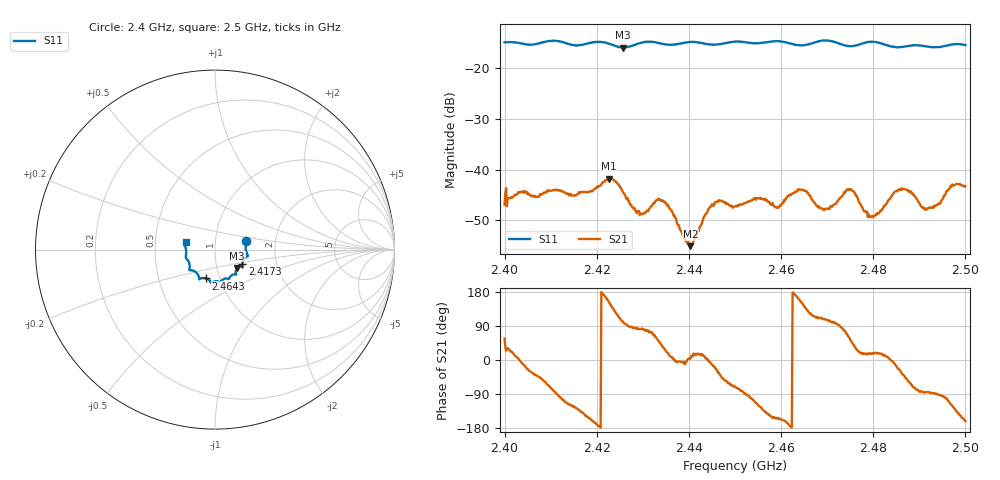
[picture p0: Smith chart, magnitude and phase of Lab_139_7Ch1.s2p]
# Hz S RI R 50
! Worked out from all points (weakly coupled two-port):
!   601 points, 2.4 GHz to 2.5 GHz, reference 50 ohm
!   highest |S21| = -41.77 dB at 2.4227 GHz (marker M1); lowest = -55.1 dB at 2.4403 GHz (marker M2)
!   lowest |S11| = -15.9 dB at 2.4257 GHz (marker M3), VSWR 1.38, Z = 62.5 - j13.1 ohm
!   |S11| at or under -10 dB: start of sweep to end of sweep
!   S12 and S22 are empty: the file has one direction only
!   S11 on the Smith chart (normalised r, x): 2.4 GHz: 1.41, +0.14; 2.4173 GHz: 1.34, -0.23; 2.4643 GHz: 0.86, -0.28; 2.5 GHz: 0.72, +0.06
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2.4e9  0.1737 0.0493  0.00247 0.00377  0 0  0 0
2.416667e9  0.1527 -0.0745  -0.00436 -0.00415  0 0  0 0
2.417333e9  0.1519 -0.082  -0.00489 -0.00358  0 0  0 0
2.422667e9  0.1477 -0.0941  -0.00723 0.00378  0 0  0 0
2.425667e9  0.1232 -0.1022  -0.00116 0.00588  0 0  0 0
2.429833e9  0.1172 -0.1361  0.000432 0.0036  0 0  0 0
2.433333e9  0.1127 -0.1376  0.00325 0.00401  0 0  0 0
2.440333e9  0.0785 -0.1641  0.00175 0.000117  0 0  0 0
2.444667e9  0.0584 -0.1614  0.00429 -0.000548  0 0  0 0
2.45e9  0.0287 -0.181  0.00148 -0.00406  0 0  0 0
2.455167e9  0.000419 -0.1768  -0.0027 -0.00449  0 0  0 0
2.459167e9  -0.0229 -0.1839  -0.00376 -0.00196  0 0  0 0
2.464333e9  -0.0501 -0.1606  -0.00564 0.00287  0 0  0 0
2.466667e9  -0.076 -0.1591  -0.0024 0.00448  0 0  0 0
2.47e9  -0.0883 -0.1661  -0.00111 0.00394  0 0  0 0
2.475167e9  -0.1079 -0.1252  0.004 0.00493  0 0  0 0
2.479667e9  -0.1433 -0.1139  0.00334 0.000986  0 0  0 0
2.483333e9  -0.1408 -0.0896  0.00498 0.000498  0 0  0 0
2.487e9  -0.155 -0.0556  0.00434 -0.00466  0 0  0 0
2.4915e9  -0.1617 -0.0303  0.000349 -0.004  0 0  0 0
2.497333e9  -0.1699 0.0288  -0.00391 -0.00574  0 0  0 0
2.5e9  -0.164 0.0428  -0.00651 -0.00219  0 0  0 0
